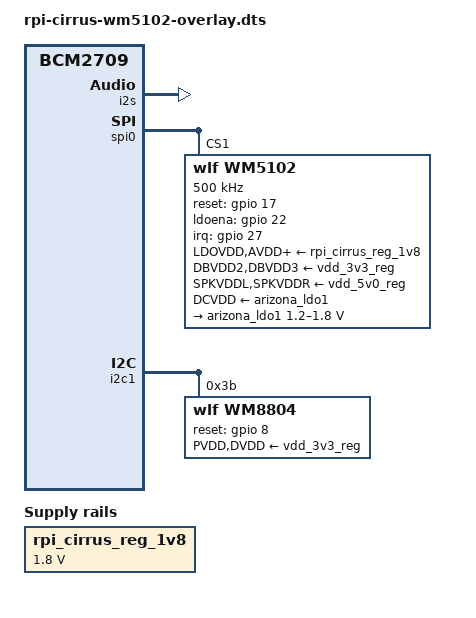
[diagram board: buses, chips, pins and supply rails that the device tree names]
// Definitions for the Cirrus Logic Audio Card
/dts-v1/;
/plugin/;
#include <dt-bindings/pinctrl/bcm2835.h>
#include <dt-bindings/gpio/gpio.h>
#include <dt-bindings/mfd/arizona.h>

/ {
	compatible = "brcm,bcm2835", "brcm,bcm2708", "brcm,bcm2709";

	fragment@0 {
		target = <&i2s>;
		__overlay__ {
			status = "okay";
		};
	};

	fragment@1 {
		target = <&gpio>;
		__overlay__ {
			wlf_pins: wlf_pins {
				brcm,pins = <17 22 27 8>;
				brcm,function = <
					BCM2835_FSEL_GPIO_OUT
					BCM2835_FSEL_GPIO_OUT
					BCM2835_FSEL_GPIO_IN
					BCM2835_FSEL_GPIO_OUT
				>;
			};
		};
	};

	fragment@2 {
		target-path = "/";
		__overlay__ {
			rpi_cirrus_reg_1v8: rpi_cirrus_reg_1v8 {
				compatible = "regulator-fixed";
				regulator-name = "RPi-Cirrus 1v8";
				regulator-min-microvolt = <1800000>;
				regulator-max-microvolt = <1800000>;
				regulator-always-on;
			};
		};
	};

	fragment@3 {
		target = <&spi0>;
		__overlay__ {
			#address-cells = <1>;
			#size-cells = <0>;
			status = "okay";

			spidev@0{
				status = "disabled";
			};

			spidev@1{
				status = "disabled";
			};

			wm5102@1{
				compatible = "wlf,wm5102";
				reg = <1>;

				spi-max-frequency = <500000>;

				interrupt-parent = <&gpio>;
				interrupts = <27 8>;
				interrupt-controller;
				#interrupt-cells = <2>;

				gpio-controller;
				#gpio-cells = <2>;

				LDOVDD-supply = <&rpi_cirrus_reg_1v8>;
				AVDD-supply = <&rpi_cirrus_reg_1v8>;
				DBVDD1-supply = <&rpi_cirrus_reg_1v8>;
				DBVDD2-supply = <&vdd_3v3_reg>;
				DBVDD3-supply = <&vdd_3v3_reg>;
				CPVDD-supply = <&rpi_cirrus_reg_1v8>;
				SPKVDDL-supply = <&vdd_5v0_reg>;
				SPKVDDR-supply = <&vdd_5v0_reg>;
				DCVDD-supply = <&arizona_ldo1>;

				wlf,reset = <&gpio 17 GPIO_ACTIVE_HIGH>;
				wlf,ldoena = <&gpio 22 GPIO_ACTIVE_HIGH>;
				wlf,gpio-defaults = <
					ARIZONA_GP_DEFAULT
					ARIZONA_GP_DEFAULT
					ARIZONA_GP_DEFAULT
					ARIZONA_GP_DEFAULT
					ARIZONA_GP_DEFAULT
				>;
				wlf,micd-configs = <0 1 0>;
				wlf,dmic-ref = <
					ARIZONA_DMIC_MICVDD
					ARIZONA_DMIC_MICBIAS2
					ARIZONA_DMIC_MICVDD
					ARIZONA_DMIC_MICVDD
				>;
				wlf,inmode = <
					ARIZONA_INMODE_DIFF
					ARIZONA_INMODE_DMIC
					ARIZONA_INMODE_SE
					ARIZONA_INMODE_DIFF
				>;
				status = "okay";

				arizona_ldo1: ldo1 {
					regulator-name = "LDO1";
					// default constraints as in
					// arizona-ldo1.c
					regulator-min-microvolt = <1200000>;
					regulator-max-microvolt = <1800000>;
				};
			};
		};
	};

	fragment@4 {
		target = <&i2c1>;
		__overlay__ {
			status = "okay";
			#address-cells = <1>;
			#size-cells = <0>;

			wm8804@3b {
				compatible = "wlf,wm8804";
				reg = <0x3b>;
				status = "okay";
				PVDD-supply = <&vdd_3v3_reg>;
				DVDD-supply = <&vdd_3v3_reg>;
				wlf,reset-gpio = <&gpio 8 GPIO_ACTIVE_HIGH>;
			};
		};
	};

	fragment@5 {
		target = <&sound>;
		__overlay__ {
			compatible = "wlf,rpi-cirrus";
			i2s-controller = <&i2s>;
			status = "okay";
		};
	};
};
